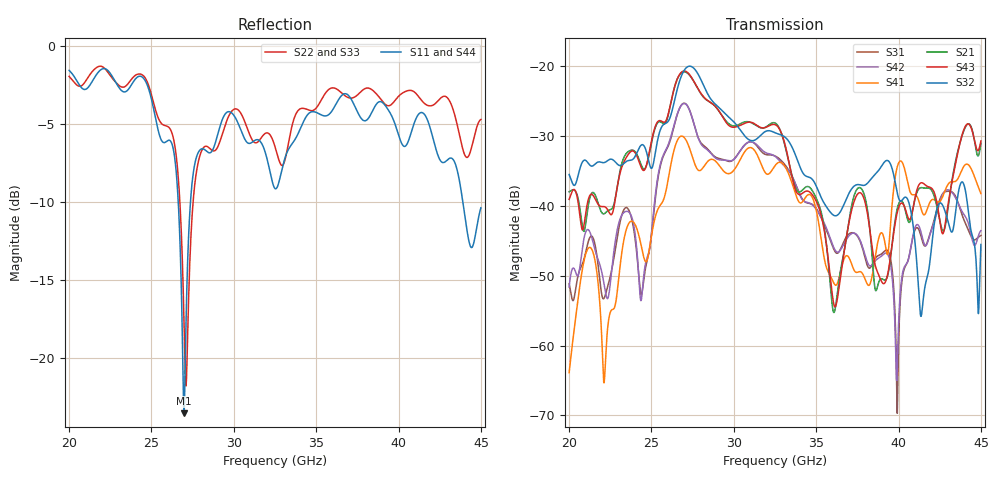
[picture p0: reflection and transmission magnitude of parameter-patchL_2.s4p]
! TOUCHSTONE file generated by CST MICROWAVE STUDIO
! Date and time: Sat Jun  8 23:23:02 2024
! Project name: Final_26GHz_linear.cst
! Parameters = {tand=0.0037; Connector_spacing=15.33; Coplanar_gap=0.425; Distance_inner=4.78238; Distance_outer=14.3471; L=2.444; L_pad=5; Length_strip_inner=24.3248; Length_strip_outer=27.8328; Pad_via_diameter=2.1; Pad_via_x_centre=3.75; Pad_via_z_centre=2.8; Patch_spacing=5.76524; Via_diameter=0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
! Header version: 2024
! Port assignment regex: !\s*Touchstone port\s*([0-9]+)\s*=\s*(CST MWS port|CST DES external port|CST DES block port)\s*(.+)\s* \(\"(.*)\"\)(\s*mode\s*([0-9]+))?.*
! Touchstone port assignment:
! Touchstone port 1 = CST MWS port 1 ("")
! Touchstone port 2 = CST MWS port 2 ("")
! Touchstone port 3 = CST MWS port 3 ("")
! Touchstone port 4 = CST MWS port 4 ("")
# GHz S MA R 50
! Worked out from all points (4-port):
!   1001 points, 20 GHz to 45 GHz, reference 50 ohm
!   strongest paths, dB at 20 GHz, 26.25 GHz, 32.5 GHz, 38.75 GHz, 45 GHz:
!     S32: -35.5, -26.4, -29.6, -35.1, -45.5
!     S43: -39.1, -24.5, -28.4, -49.6, -30.7
!     S21: -38.0, -24.5, -28.2, -51.3, -31.1
!     S41: -63.9, -33.3, -34.3, -45.1, -38.3
!     S42: -51.6, -29.5, -32.9, -47.6, -43.6
!     S31: -51.2, -29.7, -32.9, -47.2, -44.3
!   lowest |S11| = -23.6 dB at 26.98 GHz (marker M1), VSWR 1.14, Z = 52.7 - j6.28 ohm
!   |S11| at or under -10 dB: 26.63 GHz to 27.37 GHz (742.6 MHz wide, 2.75 % of centre); 43.9 GHz to end of sweep
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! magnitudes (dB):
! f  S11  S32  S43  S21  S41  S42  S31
! 20 GHz  -1.6  -35.5  -39.1  -38.0  -63.9  -51.6  -51.2
! 24.4 GHz  -2.0  -31.3  -34.6  -34.3  -46.0  -53.2  -52.7
! 26.98 GHz  -23.6  -20.7  -20.7  -20.8  -30.2  -25.4  -25.3
! 36.08 GHz  -4.0  -41.4  -54.1  -55.3  -51.1  -46.0  -46.2
! 39.92 GHz  -5.4  -38.2  -40.9  -40.4  -34.4  -63.2  -69.7
! 41.05 GHz  -4.7  -46.5  -38.3  -38.6  -38.5  -42.9  -43.2
! 45 GHz  -10.4  -45.5  -30.7  -31.1  -38.3  -43.6  -44.3
